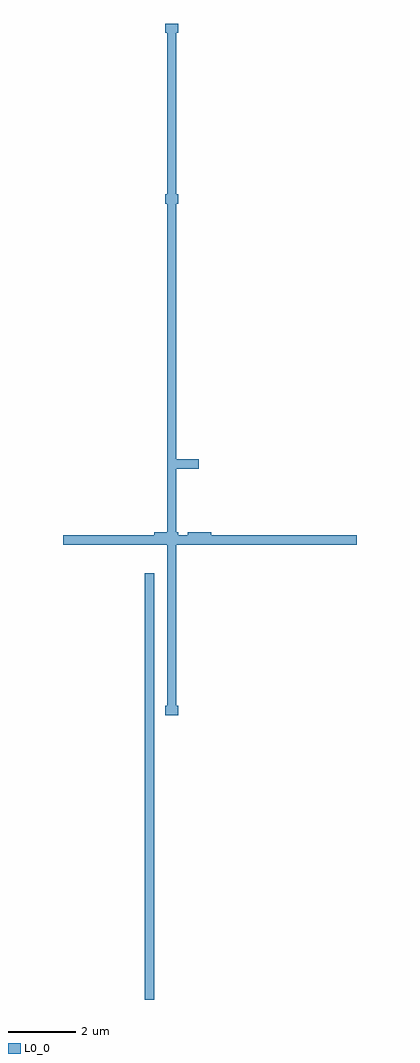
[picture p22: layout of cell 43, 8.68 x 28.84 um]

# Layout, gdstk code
import gdstk
lib = gdstk.Library(unit=1e-6, precision=1e-09)
def P(c, l, *ps):  # polygons
    for p in ps: c.add(gdstk.Polygon(p, *l))
L0_0 = (0, 0)

c_43 = lib.new_cell('43')
P(c_43, L0_0, [(903.21,963.595),(903.87,963.595),(903.87,963.365),(903.21,963.365),(903.21,963.595)],
  [(902.7,963.34),(902.7,963.71),(903.4,963.71),(903.4,963.34),(902.7,963.34)],
  [(903.68,963.71),(904.38,963.71),(904.38,963.34),(903.68,963.34),(903.68,963.71)],
  [(903.02,963.62),(903.4,963.62),(903.4,963.34),(903.02,963.34),(903.02,963.62)],
  [(902.7,963.34),(902.7,963.71),(903.4,963.71),(903.4,963.34),(902.7,963.34)],
  [(903.02,963.62),(903.4,963.62),(903.4,963.34),(903.02,963.34),(903.02,963.62)],
  [(903.02,973.7),(903.4,973.7),(903.4,973.42),(903.02,973.42),(903.02,973.7)],
  [(903.02,978.74),(903.4,978.74),(903.4,978.46),(903.02,978.46),(903.02,978.74)],
  [(903.02,963.62),(903.4,963.62),(903.4,963.34),(903.02,963.34),(903.02,963.62)],
  [(903.02,958.58),(903.4,958.58),(903.4,958.3),(903.02,958.3),(903.02,958.58)],
  [(903.07,973.42),(903.07,978.74),(903.35,978.74),(903.35,973.42),(903.07,973.42)],
  [(903.07,963.34),(903.07,973.7),(903.35,973.7),(903.35,963.34),(903.07,963.34)],
  [(903.07,958.3),(903.07,963.62),(903.35,963.62),(903.35,958.3),(903.07,958.3)],
  [(903.02,973.7),(903.4,973.7),(903.4,973.42),(903.02,973.42),(903.02,973.7)],
  [(903.02,963.62),(903.4,963.62),(903.4,963.34),(903.02,963.34),(903.02,963.62)],
  [(903.02,958.58),(903.4,958.58),(903.4,958.3),(903.02,958.3),(903.02,958.58)],
  [(903.07,963.34),(903.07,973.7),(903.35,973.7),(903.35,963.34),(903.07,963.34)],
  [(903.07,958.3),(903.07,963.62),(903.35,963.62),(903.35,958.3),(903.07,958.3)],
  [(903.02,963.62),(903.4,963.62),(903.4,963.34),(903.02,963.34),(903.02,963.62)],
  [(903.07,958.3),(903.07,963.62),(903.35,963.62),(903.35,958.3),(903.07,958.3)],
  [(903.02,958.58),(903.4,958.58),(903.4,958.3),(903.02,958.3),(903.02,958.58)],
  [(908.3,963.62),(908.68,963.62),(908.68,963.34),(908.3,963.34),(908.3,963.62)],
  [(900,963.62),(902.69,963.62),(902.69,963.34),(900,963.34),(900,963.62)],
  [(902.41,963.62),(908.63,963.62),(908.63,963.34),(902.41,963.34),(902.41,963.62)],
  [(902.36,963.62),(902.74,963.62),(902.74,963.34),(902.36,963.34),(902.36,963.62)],
  [(908.3,963.62),(908.68,963.62),(908.68,963.34),(908.3,963.34),(908.3,963.62)],
  [(902.41,963.62),(908.63,963.62),(908.63,963.34),(902.41,963.34),(902.41,963.62)],
  [(902.36,963.62),(902.74,963.62),(902.74,963.34),(902.36,963.34),(902.36,963.62)],
  [(902.41,949.9),(902.41,962.5),(902.69,962.5),(902.69,949.9),(902.41,949.9)],
  [(903.07,965.86),(904.01,965.86),(904.01,965.58),(903.07,965.58),(903.07,965.86)],
  [(903.07,962.22),(903.07,965.86),(903.35,965.86),(903.35,962.22),(903.07,962.22)])

lib.write_gds('43.gds')
